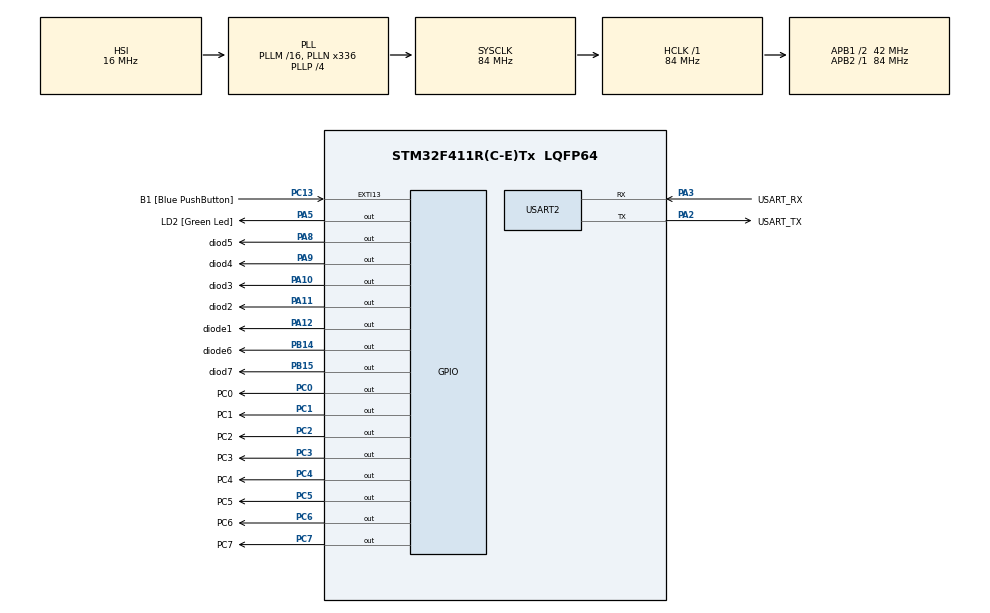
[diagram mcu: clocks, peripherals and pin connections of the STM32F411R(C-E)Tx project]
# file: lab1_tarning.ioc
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Mcu.Family=STM32F4
Mcu.Name=STM32F411R(C-E)Tx
Mcu.Package=LQFP64
NVIC.PriorityGroup=NVIC_PRIORITYGROUP_0
PA10.GPIO_Label=diod3
PA10.PinState=GPIO_PIN_RESET
PA10.Signal=GPIO_Output
PA11.GPIO_Label=diod2
PA11.PinState=GPIO_PIN_RESET
PA11.Signal=GPIO_Output
PA12.GPIO_Label=diode1
PA12.PinState=GPIO_PIN_RESET
PA12.Signal=GPIO_Output
PA13.GPIO_Label=TMS
PA13.Mode=Serial_Wire
PA13.Signal=SYS_JTMS-SWDIO
PA14.GPIO_Label=TCK
PA14.Mode=Serial_Wire
PA14.Signal=SYS_JTCK-SWCLK
PA2.GPIO_Label=USART_TX
PA2.Mode=Asynchronous
PA2.Signal=USART2_TX
PA3.GPIO_Label=USART_RX
PA3.Mode=Asynchronous
PA3.Signal=USART2_RX
PA5.GPIO_Label=LD2 [Green Led]
PA5.PinState=GPIO_PIN_RESET
PA5.Signal=GPIO_Output
PA8.GPIO_Label=diod5
PA8.PinState=GPIO_PIN_RESET
PA8.Signal=GPIO_Output
PA9.GPIO_Label=diod4
PA9.PinState=GPIO_PIN_RESET
PA9.Signal=GPIO_Output
PB14.GPIO_Label=diode6
PB14.Signal=GPIO_Output
PB15.GPIO_Label=diod7
PB15.Signal=GPIO_Output
PB3.GPIO_Label=SWO
PB3.Signal=SYS_JTDO-SWO
PC0.GPIO_Label=PC0
PC0.PinState=GPIO_PIN_RESET
PC0.Signal=GPIO_Output
PC1.GPIO_Label=PC1
PC1.PinState=GPIO_PIN_RESET
PC1.Signal=GPIO_Output
PC13-ANTI_TAMP.GPIO_Label=B1 [Blue PushButton]
PC13-ANTI_TAMP.GPIO_ModeDefaultEXTI=GPIO_MODE_IT_FALLING
PC13-ANTI_TAMP.Signal=GPXTI13
PC14-OSC32_IN.Mode=LSE-External-Oscillator
PC14-OSC32_IN.Signal=RCC_OSC32_IN
PC15-OSC32_OUT.Mode=LSE-External-Oscillator
PC15-OSC32_OUT.Signal=RCC_OSC32_OUT
PC2.GPIO_Label=PC2
PC2.PinState=GPIO_PIN_RESET
PC2.Signal=GPIO_Output
PC3.GPIO_Label=PC3
PC3.PinState=GPIO_PIN_RESET
PC3.Signal=GPIO_Output
PC4.GPIO_Label=PC4
PC4.Signal=GPIO_Output
PC5.GPIO_Label=PC5
PC5.Signal=GPIO_Output
PC6.GPIO_Label=PC6
PC6.PinState=GPIO_PIN_RESET
PC6.Signal=GPIO_Output
PC7.GPIO_Label=PC7
PC7.PinState=GPIO_PIN_RESET
PC7.Signal=GPIO_Output
PH0\ -\ OSC_IN.Mode=HSE-External-Clock-Source
PH0\ -\ OSC_IN.Signal=RCC_OSC_IN
PH1\ -\ OSC_OUT.Mode=HSE-External-Clock-Source
PH1\ -\ OSC_OUT.Signal=RCC_OSC_OUT
ProjectManager.HeapSize=0x200
ProjectManager.StackSize=0x400
ProjectManager.TargetToolchain=STM32CubeIDE
RCC.48MHZClocksFreq_Value=84000000
RCC.AHBFreq_Value=84000000
RCC.APB1CLKDivider=RCC_HCLK_DIV2
RCC.APB1Freq_Value=42000000
RCC.APB1TimFreq_Value=84000000
RCC.APB2Freq_Value=84000000
RCC.APB2TimFreq_Value=84000000
RCC.CortexFreq_Value=84000000
RCC.FLatency-AdvancedSettings=FLASH_LATENCY_2
RCC.HCLKFreq_Value=84000000
RCC.HSE_VALUE=8000000
RCC.HSI_VALUE=16000000
RCC.PLLN=336
RCC.PLLP=RCC_PLLP_DIV4
RCC.SYSCLKFreq_VALUE=84000000
RCC.SYSCLKSource=RCC_SYSCLKSOURCE_PLLCLK
RCC.VCOOutputFreq_Value=336000000
USART2.VirtualMode=VM_ASYNC
board=NUCLEO-F411RE

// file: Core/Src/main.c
/* USER CODE BEGIN Header */
/**
  ******************************************************************************
  * @file           : main.c
  * @brief          : Main program body
  ******************************************************************************
  * @attention
  *
  * Copyright (c) 2023 STMicroelectronics.
  * All rights reserved.
  *
  * This software is licensed under terms that can be found in the LICENSE file
  * in the root directory of this software component.
  * If no LICENSE file comes with this software, it is provided AS-IS.
  *
  ******************************************************************************
  */
/* USER CODE END Header */
#include "main.h"

/* USER CODE BEGIN PTD */
const uint8_t sseg[10] = {0x3F,0x6,0x5B,0x4F,0x66,0x6D,0x7D,0x7,0x7F,0x6F,0xDC };
const uint8_t sseg_err = 0xDC;
/* USER CODE END PTD */

UART_HandleTypeDef huart2;

void SystemClock_Config(void);
static void MX_GPIO_Init(void);
static void MX_USART2_UART_Init(void);
/* USER CODE BEGIN PFP */
int is_blue_button_pressed();
void put_die_dots(uint8_t die_nbr);
void put_on_sseg(uint8_t dec_nbr);

/* USER CODE END PFP */

/* USER CODE BEGIN 0 */

int is_blue_button_pressed(){
	if(GPIOC->IDR & (1 << 13)){
		return 0;
	}
	return 1;
}

void put_die_dots(uint8_t die_nbr){

	GPIO_PinState d1,d2, d3, d4, d5, d6,d7;
	d1=d2=d3=d4=d5=d6=d7= GPIO_PIN_RESET;

	switch (die_nbr){

	case 1:

		// diodes
		d4 = GPIO_PIN_SET;
	break;

	case 2:

		d1 = d7 = GPIO_PIN_SET;
	break;

	case 3:
		d1 = d4 = d7 = GPIO_PIN_SET;
	break;

	case 4:
		d1 = d3 = d5 = d7 = GPIO_PIN_SET;
	break;

	case 5:
		d1 = d3 = d5 = d7 = d4 = GPIO_PIN_SET;
	break;

	case 6:
		d1 = d2 = d3 = d5 = d6 = d7 = GPIO_PIN_SET;
	break;

	default:

	}

	HAL_GPIO_WritePin(diode1_GPIO_Port,diode1_Pin, d1);
	HAL_GPIO_WritePin(diod2_GPIO_Port,GPIO_PIN_11, d2);
	HAL_GPIO_WritePin(diod3_GPIO_Port,GPIO_PIN_10, d3);
	HAL_GPIO_WritePin(diod4_GPIO_Port,GPIO_PIN_9, d4);
	HAL_GPIO_WritePin(diod5_GPIO_Port,GPIO_PIN_8, d5);
	HAL_GPIO_WritePin(diode6_GPIO_Port,GPIO_PIN_14, d6);
	HAL_GPIO_WritePin(diod7_GPIO_Port,GPIO_PIN_15, d7);

}

void put_on_sseg(uint8_t dec_nbr){
 // should display the error pattern
	//GPIOC ->  ODR = 0x0;
	GPIOC->ODR = sseg[dec_nbr];

}

void wait_for_button()
{
	while(!is_blue_button_pressed())
	{

	}
	while(is_blue_button_pressed())
		{

		}
}

/* USER CODE END 0 */

int main(void)
{

  /* MCU Configuration--------------------------------------------------------*/

  /* Reset of all peripherals, Initializes the Flash interface and the Systick. */
  HAL_Init();

  /* Configure the system clock */
  SystemClock_Config();

  /* Initialize all configured peripherals */
  MX_GPIO_Init();
  MX_USART2_UART_Init();
  /* USER CODE BEGIN 2 */

  while(1)
  {
	  for (int i = 0; i < 10; i++)
	  {
		  wait_for_button();
		  put_die_dots(i);
		  GPIOC->ODR = sseg[i];

	  }

  }

  /* USER CODE END 2 */

  /* Infinite loop */
  /* USER CODE BEGIN WHILE */
  int pressed = 0;
  uint8_t die_value = 1 ;
  while (1)
  {
	  die_value = rand() % 6 + 1;
	  pressed = HAL_GPIO_ReadPin(B1_GPIO_Port,B1_Pin);
	  if(is_blue_button_pressed()){
		  HAL_GPIO_WritePin(LD2_GPIO_Port, LD2_Pin,GPIO_PIN_SET);
		  put_die_dots(die_value);
		  put_on_sseg(die_value);
		  HAL_Delay(100);

	  }
	  else{
		  GPIO_TypeDef* Id2_gpio 	= GPIOA;
		  uint16_t 		Id2_pin_nbr = 5;
		  uint16_t		Id2_pin		= 0x01 << Id2_pin_nbr;
		  HAL_GPIO_WritePin(Id2_gpio, Id2_pin, GPIO_PIN_RESET);
	  }

    /* USER CODE END WHILE */

  }
}

void SystemClock_Config(void)
{
  RCC_OscInitTypeDef RCC_OscInitStruct = {0};
  RCC_ClkInitTypeDef RCC_ClkInitStruct = {0};

  /** Configure the main internal regulator output voltage
  */
  __HAL_RCC_PWR_CLK_ENABLE();
  __HAL_PWR_VOLTAGESCALING_CONFIG(PWR_REGULATOR_VOLTAGE_SCALE1);

  /** Initializes the RCC Oscillators according to the specified parameters
  * in the RCC_OscInitTypeDef structure.
  */
  RCC_OscInitStruct.OscillatorType = RCC_OSCILLATORTYPE_HSI;
  RCC_OscInitStruct.HSIState = RCC_HSI_ON;
  RCC_OscInitStruct.HSICalibrationValue = RCC_HSICALIBRATION_DEFAULT;
  RCC_OscInitStruct.PLL.PLLState = RCC_PLL_ON;
  RCC_OscInitStruct.PLL.PLLSource = RCC_PLLSOURCE_HSI;
  RCC_OscInitStruct.PLL.PLLM = 16;
  RCC_OscInitStruct.PLL.PLLN = 336;
  RCC_OscInitStruct.PLL.PLLP = RCC_PLLP_DIV4;
  RCC_OscInitStruct.PLL.PLLQ = 4;
  if (HAL_RCC_OscConfig(&RCC_OscInitStruct) != HAL_OK)
  {
    Error_Handler();
  }

  /** Initializes the CPU, AHB and APB buses clocks
  */
  RCC_ClkInitStruct.ClockType = RCC_CLOCKTYPE_HCLK|RCC_CLOCKTYPE_SYSCLK
                              |RCC_CLOCKTYPE_PCLK1|RCC_CLOCKTYPE_PCLK2;
  RCC_ClkInitStruct.SYSCLKSource = RCC_SYSCLKSOURCE_PLLCLK;
  RCC_ClkInitStruct.AHBCLKDivider = RCC_SYSCLK_DIV1;
  RCC_ClkInitStruct.APB1CLKDivider = RCC_HCLK_DIV2;
  RCC_ClkInitStruct.APB2CLKDivider = RCC_HCLK_DIV1;

  if (HAL_RCC_ClockConfig(&RCC_ClkInitStruct, FLASH_LATENCY_2) != HAL_OK)
  {
    Error_Handler();
  }
}

static void MX_USART2_UART_Init(void)
{

  huart2.Instance = USART2;
  huart2.Init.BaudRate = 115200;
  huart2.Init.WordLength = UART_WORDLENGTH_8B;
  huart2.Init.StopBits = UART_STOPBITS_1;
  huart2.Init.Parity = UART_PARITY_NONE;
  huart2.Init.Mode = UART_MODE_TX_RX;
  huart2.Init.HwFlowCtl = UART_HWCONTROL_NONE;
  huart2.Init.OverSampling = UART_OVERSAMPLING_16;
  if (HAL_UART_Init(&huart2) != HAL_OK)
  {
    Error_Handler();
  }

}

static void MX_GPIO_Init(void)
{
  GPIO_InitTypeDef GPIO_InitStruct = {0};

  /* GPIO Ports Clock Enable */
  __HAL_RCC_GPIOC_CLK_ENABLE();
  __HAL_RCC_GPIOH_CLK_ENABLE();
  __HAL_RCC_GPIOA_CLK_ENABLE();
  __HAL_RCC_GPIOB_CLK_ENABLE();

  /*Configure GPIO pin Output Level */
  HAL_GPIO_WritePin(GPIOC, PC0_Pin|PC1_Pin|PC2_Pin|PC3_Pin
                          |PC4_Pin|PC5_Pin|PC6_Pin|PC7_Pin, GPIO_PIN_RESET);

  /*Configure GPIO pin Output Level */
  HAL_GPIO_WritePin(GPIOA, LD2_Pin|diod5_Pin|diod4_Pin|diod3_Pin
                          |diod2_Pin|diode1_Pin, GPIO_PIN_RESET);

  /*Configure GPIO pin Output Level */
  HAL_GPIO_WritePin(GPIOB, diode6_Pin|diod7_Pin, GPIO_PIN_RESET);

  /*Configure GPIO pin : B1_Pin */
  GPIO_InitStruct.Pin = B1_Pin;
  GPIO_InitStruct.Mode = GPIO_MODE_IT_FALLING;
  GPIO_InitStruct.Pull = GPIO_NOPULL;
  HAL_GPIO_Init(B1_GPIO_Port, &GPIO_InitStruct);

  /*Configure GPIO pins : PC0_Pin PC1_Pin PC2_Pin PC3_Pin
                           PC4_Pin PC5_Pin PC6_Pin PC7_Pin */
  GPIO_InitStruct.Pin = PC0_Pin|PC1_Pin|PC2_Pin|PC3_Pin
                          |PC4_Pin|PC5_Pin|PC6_Pin|PC7_Pin;
  GPIO_InitStruct.Mode = GPIO_MODE_OUTPUT_PP;
  GPIO_InitStruct.Pull = GPIO_NOPULL;
  GPIO_InitStruct.Speed = GPIO_SPEED_FREQ_LOW;
  HAL_GPIO_Init(GPIOC, &GPIO_InitStruct);

  /*Configure GPIO pins : LD2_Pin diod5_Pin diod4_Pin diod3_Pin
                           diod2_Pin diode1_Pin */
  GPIO_InitStruct.Pin = LD2_Pin|diod5_Pin|diod4_Pin|diod3_Pin
                          |diod2_Pin|diode1_Pin;
  GPIO_InitStruct.Mode = GPIO_MODE_OUTPUT_PP;
  GPIO_InitStruct.Pull = GPIO_NOPULL;
  GPIO_InitStruct.Speed = GPIO_SPEED_FREQ_LOW;
  HAL_GPIO_Init(GPIOA, &GPIO_InitStruct);

  /*Configure GPIO pins : diode6_Pin diod7_Pin */
  GPIO_InitStruct.Pin = diode6_Pin|diod7_Pin;
  GPIO_InitStruct.Mode = GPIO_MODE_OUTPUT_PP;
  GPIO_InitStruct.Pull = GPIO_NOPULL;
  GPIO_InitStruct.Speed = GPIO_SPEED_FREQ_LOW;
  HAL_GPIO_Init(GPIOB, &GPIO_InitStruct);

}

void Error_Handler(void)
{
  __disable_irq();
  while (1)
  {
  }
}
